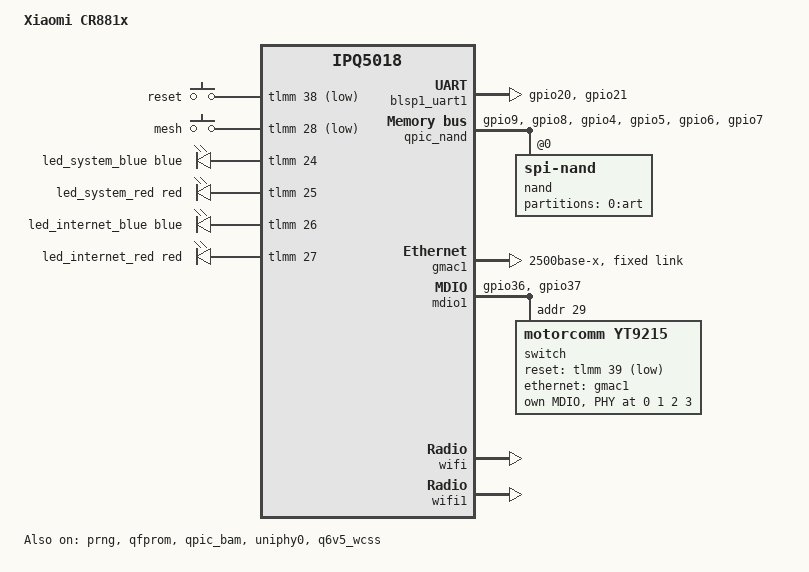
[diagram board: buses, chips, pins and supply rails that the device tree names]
// SPDX-License-Identifier: GPL-2.0-or-later OR MIT

/dts-v1/;

#include "ipq5018.dtsi"
#include "ipq5018-ess.dtsi"
#include "ipq5018-qcn6122.dtsi"

#include <dt-bindings/gpio/gpio.h>
#include <dt-bindings/input/input.h>
#include <dt-bindings/leds/common.h>

/ {
	model = "Xiaomi CR881x";
	compatible = "xiaomi,cr881x", "qcom,ipq5018";

	aliases {
		label-mac-device = &gmac1;

		led-boot = &led_system_blue;
		led-failsafe = &led_system_red;
		led-running = &led_system_blue;
		led-upgrade = &led_system_red;

		serial0 = &blsp1_uart1;
	};

	chosen {
		/* Xiaomi's U-Boot passes ubi.mtd=rootfs or ubi.mtd=rootfs_1
		 * depending on the active slot, so only the root device is
		 * set here.
		 */
		bootargs-append = " root=/dev/ubiblock0_1 swiotlb=1 coherent_pool=2M";
		stdout-path = "serial0:115200n8";
	};

	keys {
		compatible = "gpio-keys";
		pinctrl-0 = <&button_pins>;
		pinctrl-names = "default";

		reset-button {
			label = "reset";
			gpios = <&tlmm 38 GPIO_ACTIVE_LOW>;
			linux,code = <KEY_RESTART>;
		};

		mesh-button {
			label = "mesh";
			gpios = <&tlmm 28 GPIO_ACTIVE_LOW>;
			linux,code = <KEY_WPS_BUTTON>;
		};
	};

	leds {
		compatible = "gpio-leds";
		pinctrl-0 = <&leds_pins>;
		pinctrl-names = "default";

		led_system_blue: system-blue {
			color = <LED_COLOR_ID_BLUE>;
			function = LED_FUNCTION_STATUS;
			gpios = <&tlmm 24 GPIO_ACTIVE_HIGH>;
		};

		led_system_red: system-red {
			color = <LED_COLOR_ID_RED>;
			function = LED_FUNCTION_STATUS;
			gpios = <&tlmm 25 GPIO_ACTIVE_HIGH>;
		};

		led_internet_blue: internet-blue {
			color = <LED_COLOR_ID_BLUE>;
			function = LED_FUNCTION_WAN;
			gpios = <&tlmm 26 GPIO_ACTIVE_HIGH>;
		};

		led_internet_red: internet-red {
			color = <LED_COLOR_ID_RED>;
			function = LED_FUNCTION_WAN;
			gpios = <&tlmm 27 GPIO_ACTIVE_HIGH>;
		};
	};
};

&sleep_clk {
	clock-frequency = <32000>;
};

&xo_board_clk {
	clock-div = <4>;
	clock-mult = <1>;
};

&blsp1_uart1 {
	status = "okay";

	pinctrl-0 = <&serial_0_pins>;
	pinctrl-names = "default";
};

&prng {
	status = "okay";
};

&qfprom {
	status = "okay";
};

&qpic_bam {
	status = "okay";
};

&qpic_nand {
	pinctrl-0 = <&qpic_pins>;
	pinctrl-names = "default";
	status = "okay";

	nand@0 {
		compatible = "spi-nand";
		reg = <0>;

		nand-ecc-engine = <&qpic_nand>;
		nand-ecc-step-size = <512>;
		nand-ecc-strength = <8>;
		nand-bus-width = <8>;

		/* sbl1 ... crash_syslog, rootfs (mtd18), rootfs_1 (mtd19),
		 * overlay (mtd20) are read from the MIBIB via SMEM.
		 */
		partitions {
			compatible = "qcom,smem-part";

			partition-art {
				label = "0:art";
				read-only;

				nvmem-layout {
					compatible = "fixed-layout";
					#address-cells = <1>;
					#size-cells = <1>;

					/* Base MAC, the radios use +1 and +2 */
					macaddr_art_6: mac-address@6 {
						compatible = "mac-base";
						reg = <0x6 0x6>;
						#nvmem-cell-cells = <1>;
					};

					/* Used as WAN MAC by the stock firmware */
					macaddr_art_c: mac-address@c {
						compatible = "mac-base";
						reg = <0xc 0x6>;
						#nvmem-cell-cells = <1>;
					};
				};
			};
		};
	};
};

/*
 * =================================================================
 *     _______________________             _______________________
 *    |        IPQ5018        |           |        YT9215         |
 *    | +------+   +--------+ |           | +--------+   +------+ |
 *    | | MAC0 |---| GE Phy |-+--- MDI ---+ | Phy4   |---| MAC4 | | (unused)
 *    | +------+   +--------+ |           | +--------+   +------+ |
 *    | +------+   +--------+ |           | +--------+   +------+ |
 *    | | MAC1 |---| Uniphy |-+-2500base-x+ | SerDes |---| MAC8 | |
 *    | +------+   +--------+ |           | +--------+   +------+ |
 *    |_______________________|           |_______________________|
 *
 * YT9215 Phy0..2 -> LAN1..3, Phy3 -> WAN
 * =================================================================
 */

&uniphy0 {
	status = "okay";
};

// MAC1 ---2500base-x---> YT9215 MAC8
&gmac1 {
	status = "okay";

	phy-mode = "2500base-x";

	nvmem-cells = <&macaddr_art_6 0>;
	nvmem-cell-names = "mac-address";

	fixed-link {
		speed = <2500>;
		full-duplex;
	};
};

&mdio1 {
	status = "okay";

	pinctrl-0 = <&mdio1_pins>;
	pinctrl-names = "default";

	switch@1d {
		compatible = "motorcomm,yt9215";
		reg = <0x1d>;

		reset-gpios = <&tlmm 39 GPIO_ACTIVE_LOW>;
		reset-assert-us = <10000>;
		reset-deassert-us = <50000>;

		mdio {
			#address-cells = <1>;
			#size-cells = <0>;

			sw_phy0: ethernet-phy@0 {
				reg = <0>;
			};

			sw_phy1: ethernet-phy@1 {
				reg = <1>;
			};

			sw_phy2: ethernet-phy@2 {
				reg = <2>;
			};

			sw_phy3: ethernet-phy@3 {
				reg = <3>;
			};
		};

		ethernet-ports {
			#address-cells = <1>;
			#size-cells = <0>;

			ethernet-port@0 {
				reg = <0>;
				label = "lan1";
				phy-mode = "internal";
				phy-handle = <&sw_phy0>;
			};

			ethernet-port@1 {
				reg = <1>;
				label = "lan2";
				phy-mode = "internal";
				phy-handle = <&sw_phy1>;
			};

			ethernet-port@2 {
				reg = <2>;
				label = "lan3";
				phy-mode = "internal";
				phy-handle = <&sw_phy2>;
			};

			ethernet-port@3 {
				reg = <3>;
				label = "wan";
				phy-mode = "internal";
				phy-handle = <&sw_phy3>;

				nvmem-cells = <&macaddr_art_c 0>;
				nvmem-cell-names = "mac-address";
			};

			ethernet-port@8 {
				reg = <8>;
				phy-mode = "2500base-x";
				ethernet = <&gmac1>;

				fixed-link {
					speed = <2500>;
					full-duplex;
				};
			};
		};
	};
};

&tlmm {
	button_pins: button-state {
		pins = "gpio28", "gpio38";
		function = "gpio";
		drive-strength = <8>;
		bias-pull-up;
	};

	leds_pins: leds-state {
		pins = "gpio24", "gpio25", "gpio26", "gpio27";
		function = "gpio";
		drive-strength = <8>;
		bias-pull-down;
	};

	mdio1_pins: mdio-state {
		mdc-pins {
			pins = "gpio36";
			function = "mdc";
			drive-strength = <8>;
			bias-pull-up;
		};

		mdio-pins {
			pins = "gpio37";
			function = "mdio";
			drive-strength = <8>;
			bias-pull-up;
		};
	};

	qpic_pins: qpic-state {
		clock-pins {
			pins = "gpio9";
			function = "qspi_clk";
			drive-strength = <8>;
			bias-disable;
		};

		cs-pins {
			pins = "gpio8";
			function = "qspi_cs";
			drive-strength = <8>;
			bias-disable;
		};

		data-pins {
			pins = "gpio4", "gpio5", "gpio6", "gpio7";
			function = "qspi_data";
			drive-strength = <8>;
			bias-disable;
		};
	};

	serial_0_pins: uart0-state {
		pins = "gpio20", "gpio21";
		function = "blsp0_uart0";
		bias-disable;
	};
};

&q6v5_wcss {
	/* The QCN6102 radio should map to UPD ID 2. Without       */
	/* bootargs, the firmware will expect it to be on UPD ID 3 */
	boot-args = </*       type: */ 0x2 /* PCIE1 */
		     /*     length: */ 4
		     /*      PD id: */ 2
		     /* reset GPIO: */ 18
		     /*   reserved: */ 0 0>;

	status = "okay";
};

&wifi {
	// IPQ5018 2.4G
	status = "okay";

	qcom,rproc = <&q6_wcss_pd1>;
	qcom,ath11k-calibration-variant = "Xiaomi-CR881x";
	qcom,ath11k-fw-memory-mode = <1>;
	qcom,bdf-addr = <0x4c400000>;
};

&wifi1 {
	// QCN6102 5G
	status = "okay";

	qcom,rproc = <&q6_wcss_pd2>;
	qcom,userpd-subsys-name = "q6v5_wcss_userpd2";
	qcom,ath11k-calibration-variant = "Xiaomi-CR881x";
	qcom,ath11k-fw-memory-mode = <1>;
	qcom,bdf-addr = <0x4d100000>;
	qcom,m3-dump-addr = <0x4df00000>;
};
